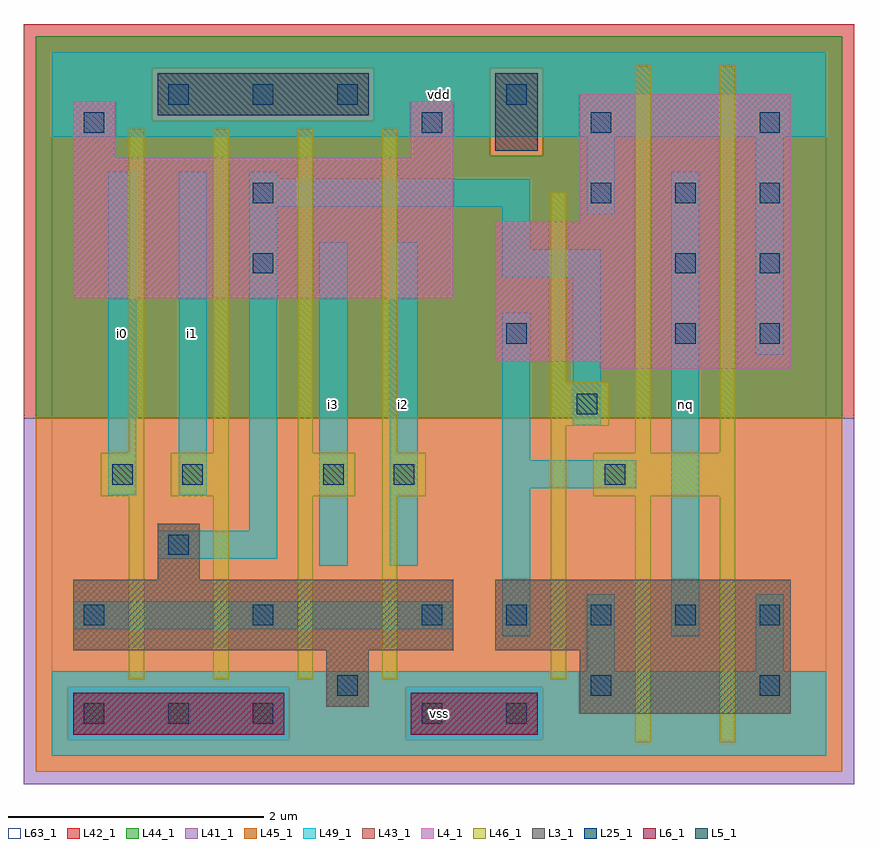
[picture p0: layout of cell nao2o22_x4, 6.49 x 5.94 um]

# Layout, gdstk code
import gdstk
lib = gdstk.Library(unit=1e-6, precision=1e-09)
def R(c, l, rs):  # rectangles x0, y0, x1, y1
    for r in rs: c.add(gdstk.rectangle(r[:2], r[2:], *l))
def A(c, l, x, y, w, h, nx, ny, dx, dy):  # array of equal rectangles
    R(c, l, [(x+i*dx, y+j*dy, x+i*dx+w, y+j*dy+h) for i in range(nx) for j in range(ny)])
L3_1 = (3, 1)
L4_1 = (4, 1)
L5_1 = (5, 1)
L6_1 = (6, 1)
L25_1 = (25, 1)
L41_1 = (41, 1)
L42_1 = (42, 1)
L43_1 = (43, 1)
L44_1 = (44, 1)
L45_1 = (45, 1)
L46_1 = (46, 1)
L49_1 = (49, 1)
L63_1 = (63, 1)

nao2o22_x4 = lib.new_cell('nao2o22_x4')
R(nao2o22_x4, L3_1, [(4.125,0.33,5.775,0.825), (2.145,0.385,2.475,0.825), (0.165,0.825,3.135,1.375), (3.465,0.825,5.775,1.375), (0.825,1.375,1.155,1.815)])
R(nao2o22_x4, L4_1, [(4.29,3.025,5.775,3.08), (3.465,3.08,5.775,4.18), (0.165,3.575,3.135,4.675), (4.125,4.18,5.775,5.17), (0.165,4.675,0.495,5.115), (2.805,4.675,3.135,5.115)])
R(nao2o22_x4, L5_1, [(3.465,4.73,3.795,5.335), (0.825,5.005,2.475,5.335)])
R(nao2o22_x4, L6_1, [(0.165,0.165,1.815,0.495), (2.805,0.165,3.795,0.495)])
A(nao2o22_x4, L25_1, 0.25, 0.25, 0.16, 0.16, 3, 1, 0.66, 0)
A(nao2o22_x4, L25_1, 0.25, 1.02, 0.16, 0.16, 3, 1, 1.32, 0)
A(nao2o22_x4, L25_1, 3.55, 1.02, 0.16, 0.16, 4, 1, 0.66, 0)
A(nao2o22_x4, L25_1, 4.21, 4.32, 0.16, 0.16, 3, 1, 0.66, 0)
A(nao2o22_x4, L25_1, 2.89, 4.87, 0.16, 0.16, 3, 1, 1.32, 0)
A(nao2o22_x4, L25_1, 0.91, 5.09, 0.16, 0.16, 3, 1, 0.66, 0)
R(nao2o22_x4, L25_1, [(2.89,0.25,3.05,0.41), (3.55,0.25,3.71,0.41), (2.23,0.47,2.39,0.63), (4.21,0.47,4.37,0.63), (5.53,0.47,5.69,0.63), (0.91,1.57,1.07,1.73), (0.47,2.12,0.63,2.28), (1.02,2.12,1.18,2.28), (2.12,2.12,2.28,2.28), (2.67,2.12,2.83,2.28), (4.32,2.12,4.48,2.28), (4.1,2.67,4.26,2.83), (3.55,3.22,3.71,3.38), (4.87,3.22,5.03,3.38), (5.53,3.22,5.69,3.38), (1.57,3.77,1.73,3.93), (4.87,3.77,5.03,3.93), (5.53,3.77,5.69,3.93), (1.57,4.32,1.73,4.48), (0.25,4.87,0.41,5.03), (3.55,5.09,3.71,5.25)])
R(nao2o22_x4, L41_1, [(-0.22,-0.22,6.27,2.64)])
R(nao2o22_x4, L42_1, [(-0.22,2.64,6.27,5.72)])
R(nao2o22_x4, L43_1, [(0.165,0.165,1.815,0.495), (2.805,0.165,3.795,0.495), (4.125,0.33,5.775,0.825), (2.145,0.385,2.475,0.825), (0.165,0.825,3.135,1.375), (3.465,0.825,5.775,1.375), (0.825,1.375,1.155,1.815), (4.29,3.025,5.775,3.08), (3.465,3.08,5.775,4.18), (0.165,3.575,3.135,4.675), (4.125,4.18,5.775,5.17), (0.165,4.675,0.495,5.115), (2.805,4.675,3.135,5.115), (3.465,4.73,3.795,5.335), (0.825,5.005,2.475,5.335)])
R(nao2o22_x4, L44_1, [(0.125,0.125,1.855,0.535), (2.765,0.125,3.835,0.535), (-0.125,2.64,6.175,4.69), (-0.125,4.69,3.425,4.965), (3.835,4.69,6.175,5.375), (-0.125,4.965,0.785,5.375), (2.515,4.965,3.425,5.375), (-0.125,5.375,6.175,5.625)])
R(nao2o22_x4, L45_1, [(-0.125,-0.125,6.175,0.125), (-0.125,0.125,0.125,0.535), (1.855,0.125,2.765,0.535), (3.835,0.125,6.175,0.535), (-0.125,0.535,6.175,2.64), (3.425,4.69,3.835,5.375), (0.785,4.965,2.515,5.375)])
A(nao2o22_x4, L46_1, 0.6, 0.6, 0.12, 1.43, 4, 1, 0.66, 0)
A(nao2o22_x4, L46_1, 0.6, 2.37, 0.12, 2.53, 4, 1, 0.66, 0)
R(nao2o22_x4, L46_1, [(4.56,0.105,4.68,2.03), (5.22,0.105,5.34,2.03), (3.9,0.6,4.02,2.58), (0.38,2.03,0.72,2.37), (0.93,2.03,1.38,2.37), (1.92,2.03,2.37,2.37), (2.58,2.03,2.92,2.37), (4.23,2.03,5.34,2.37), (4.56,2.37,4.68,5.395), (5.22,2.37,5.34,5.395), (3.9,2.58,4.35,2.92), (3.9,2.92,4.02,4.405)])
R(nao2o22_x4, L49_1, [(0,0,6.05,0.66), (4.18,0.66,4.4,1.265), (5.5,0.66,5.72,1.265), (3.52,0.935,3.74,2.09), (4.84,0.935,5.06,4.565), (0.165,0.99,3.135,1.21), (2.09,1.485,2.31,4.015), (2.64,1.485,2.86,4.015), (0.825,1.54,1.76,1.76), (1.54,1.76,1.76,4.29), (0.44,2.035,0.66,4.565), (0.99,2.035,1.21,4.565), (3.52,2.09,4.565,2.31), (3.52,2.31,3.74,3.465), (4.07,2.585,4.29,3.74), (5.5,3.135,5.72,4.84), (3.52,3.74,4.29,3.96), (3.52,3.96,3.74,4.29), (4.18,4.235,4.4,4.84), (1.54,4.29,3.74,4.51), (1.54,4.51,1.76,4.565), (0,4.84,6.05,5.5)])
R(nao2o22_x4, L63_1, [(0,0,6.05,5.5)])
nao2o22_x4.add(gdstk.Label('i0', (0.55,3.3), layer=49, texttype=1))
nao2o22_x4.add(gdstk.Label('i3', (2.2,2.75), layer=49, texttype=1))
nao2o22_x4.add(gdstk.Label('i1', (1.1,3.3), layer=49, texttype=1))
nao2o22_x4.add(gdstk.Label('vss', (3.025,0.33), layer=49, texttype=1))
nao2o22_x4.add(gdstk.Label('i2', (2.75,2.75), layer=49, texttype=1))
nao2o22_x4.add(gdstk.Label('vdd', (3.025,5.17), layer=49, texttype=1))
nao2o22_x4.add(gdstk.Label('nq', (4.95,2.75), layer=49, texttype=1))

lib.write_gds('nao2o22_x4.gds')
